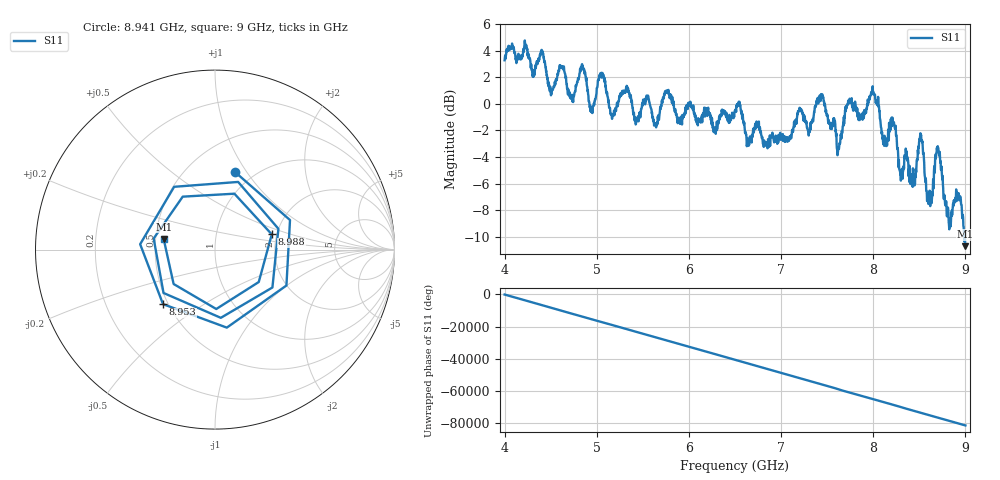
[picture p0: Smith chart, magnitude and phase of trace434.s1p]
! Created with skrf 1.8.0 (http://scikit-rf.org).
# Hz S RI R 50.0
!freq ReS11 ImS11
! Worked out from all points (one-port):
!   1601 points, 4 GHz to 9 GHz, reference 50 ohm
!   lowest |S11| = -10.7 dB at 9 GHz (marker M1), VSWR 1.82, Z = 27.6 + j3.53 ohm
!   |S11| at or under -10 dB: 8.989374 GHz to 8.992423 GHz (3.049 MHz wide, 0.0339 % of centre); 8.995387 GHz to end of sweep
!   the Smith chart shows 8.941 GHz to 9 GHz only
!   S11 on the Smith chart (normalised r, x): 8.941 GHz: 0.82, +0.89; 8.953 GHz: 0.47, -0.35; 8.988 GHz: 1.88, +0.36; 9 GHz: 0.55, +0.07
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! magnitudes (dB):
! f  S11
! 4 GHz  3.3
! 4.406 GHz  4.0
! 4.509 GHz  0.8
! 4.625 GHz  2.7
! 4.728 GHz  0.4
! 4.85 GHz  2.7
! 4.941 GHz  -0.6
! 5.05 GHz  2.3
! 5.159 GHz  -0.8
! 5.25 GHz  0.5
! 5.875 GHz  -1.1
! 6.5 GHz  -0.6
! 6.653 GHz  -3.1
! 7.125 GHz  -1.9
! 7.438 GHz  0.7
! 7.628 GHz  -3.4
! 7.75 GHz  0.3
! 8 GHz  0.9
! 8.375 GHz  -4.2
! 8.441 GHz  -5.4
! 8.522 GHz  -2.6
! 8.609 GHz  -7.3
! 8.7 GHz  -3.2
! 8.819 GHz  -8.9
! 8.941 GHz  -7.0
! 8.953 GHz  -7.5
! 8.988 GHz  -9.7
! 9 GHz  -10.7
